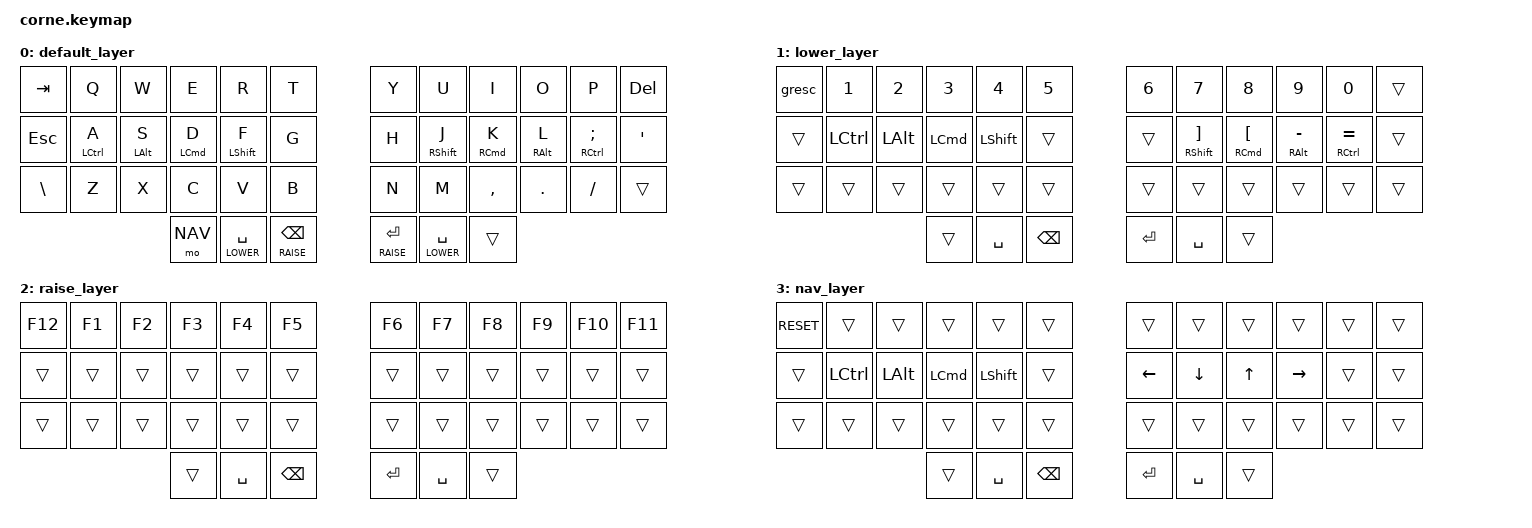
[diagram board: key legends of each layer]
/*
 * Copyright (c) 2020 The ZMK Contributors
 *
 * SPDX-License-Identifier: MIT
 */

#include <behaviors.dtsi>
#include <dt-bindings/zmk/keys.h>
#include <dt-bindings/zmk/bt.h>

#define DEFAULT 0
#define LOWER   1
#define RAISE   2
#define NAV     3

// todo:
// experiment with tapping-term-ms
// try balanced vs tap-preferred
// try caps-word
// emoji key: LCMD(LCTRL(SPACE))

// make dongle work.
// https://github.com/zmkfirmware/zmk/tree/main/app/boards/shields/corne
// https://github.com/aroum/zmk-enki42

&lt {
    quick-tap-ms = <200>;
    flavor = "balanced";
};

/ {
      behaviors {
        hm: balanced_homerow_mods {
            compatible = "zmk,behavior-hold-tap";
            #binding-cells = <2>;
            tapping-term-ms = <150>;
            quick-tap-ms = <200>;
            flavor = "balanced";
            bindings = <&kp>, <&kp>;
        };
    };
        keymap {
                compatible = "zmk,keymap";
                default_layer {
                        bindings = <
//,----------------------------------------------------------------------.            ,----------------------------------------------------------------------.
    &kp TAB         &kp Q       &kp W        &kp E         &kp R   &kp T               &kp Y       &kp U          &kp I       &kp O           &kp P   &kp DEL
//|---------+-------------+-----------+------------+-------------+-------|            |------+-------------+------------+-----------+---------------+--------|
    &kp ESC   &hm LCTRL A   &hm LALT S  &hm LCMD D   &hm LSHFT F   &kp G               &kp H   &hm RSHFT J   &hm RCMD K   &hm RALT L  &hm RCTL SEMI   &kp SQT
//|---------+-------------+-----------+------------+-------------+-------|            |------+-------------+------------+-----------+---------------+--------|
   &kp BSLH         &kp Z       &kp X        &kp C         &kp V   &kp B               &kp N       &kp M      &kp COMMA     &kp DOT        &kp FSLH   &trans
//|---------+-------------+-----------+------------+-------------+-------+----|  |----+------+-------------+------------+-----------+---------------+--------|
                                    &mo NAV   &lt LOWER SPACE   &lt RAISE BSPC     &lt RAISE RET   &lt LOWER SPACE   &trans
                                 //`--------+-----------------+---------------'  `---------------+-----------------+-------'
                        >;
                };
                lower_layer {
                        bindings = <
//,------------------------------------------------------------.            ,---------------------------------------------------------------------------------.
   &gresc      &kp N1    &kp N2     &kp N3      &kp N4   &kp N5              &kp N6           &kp N7          &kp N8          &kp N9           &kp N0   &trans
//|-------+-----------+---------+----------+-----------+-------|            |------+-----------------+---------------+---------------+----------------+-------|
   &trans   &kp LCTRL   &kp LALT  &kp LCMD   &kp LSHFT   &trans              &trans   &hm RSHFT RBKT   &hm RCMD LBKT   &hm RALT MINUS  &hm RCTL EQUAL   &trans
//|-------+-----------+---------+----------+-----------+-------|            |------+-----------------+---------------+---------------+----------------+-------|
   &trans      &trans    &trans     &trans      &trans   &trans              &trans           &trans          &trans          &trans           &trans   &trans
//|-------+-----------+---------+----------+-----------+-------+----|  |----+------+-----------------+---------------+---------------+----------------+-------|
                                       &trans   &kp SPACE   &kp BSPC    &kp RET   &kp SPACE   &trans
                                    //`-------+-----------+---------'  `--------+-----------+-------'
                        >;
                };
                raise_layer {
                        bindings = <
//,----------------------------------------------------.            ,-----------------------------------------------------.
   &kp F12   &kp F1   &kp F2   &kp F3   &kp F4   &kp F5              &kp F6   &kp F7   &kp F8   &kp F9   &kp F10   &kp F11
//|--------+--------+--------+--------+--------+-------|            |------+---------+--------+--------+---------+--------|
    &trans   &trans   &trans   &trans   &trans   &trans              &trans   &trans   &trans   &trans    &trans   &trans
//|--------+--------+--------+--------+--------+-------|            |------+---------+--------+--------+---------+--------|
    &trans   &trans   &trans   &trans   &trans   &trans              &trans   &trans   &trans   &trans    &trans   &trans
//|--------+--------+--------+--------+--------+-------+----|  |----+------+---------+--------+--------+---------+--------|
                               &trans   &kp SPACE   &kp BSPC    &kp RET   &kp SPACE   &trans
                            //`-------+-----------+---------'  `--------+-----------+-------'
                        >;
                };
                nav_layer {
                        bindings = <
//,-----------------------------------------------------------------.            ,----------------------------------------------------------.
   &kp C_RESET      &trans    &trans     &trans      &trans   &trans                &trans     &trans   &trans      &trans   &trans   &trans
//|------------+-----------+---------+----------+-----------+-------|            |---------+----------+--------+-----------+--------+-------|
    &trans       &kp LCTRL   &kp LALT  &kp LCMD   &kp LSHFT   &trans              &kp LEFT   &kp DOWN   &kp UP   &kp RIGHT   &trans   &trans
//|------------+-----------+---------+----------+-----------+-------|            |---------+----------+--------+-----------+--------+-------|
    &trans          &trans    &trans     &trans      &trans   &trans                &trans     &trans   &trans      &trans   &trans   &trans
//|------------+-----------+---------+----------+-----------+-------+----|  |----+---------+----------+--------+-----------+--------+-------|
                                            &trans   &kp SPACE   &kp BSPC    &kp RET   &kp SPACE   &trans
                                         //`-------+-----------+---------'  `--------+-----------+-------'
                        >;
                };
        };
};
